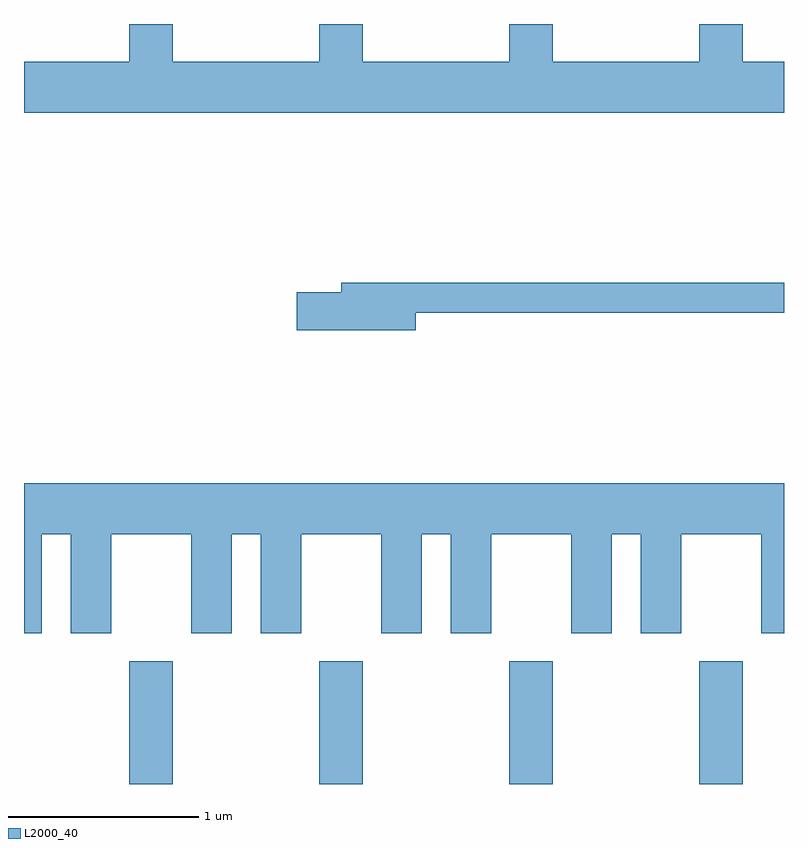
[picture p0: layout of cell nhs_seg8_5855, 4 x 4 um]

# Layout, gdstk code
import gdstk
lib = gdstk.Library(unit=1e-6, precision=1e-09)
def R(c, l, rs):  # rectangles x0, y0, x1, y1
    for r in rs: c.add(gdstk.rectangle(r[:2], r[2:], *l))
def A(c, l, x, y, w, h, nx, ny, dx, dy):  # array of equal rectangles
    R(c, l, [(x+i*dx, y+j*dy, x+i*dx+w, y+j*dy+h) for i in range(nx) for j in range(ny)])
def P(c, l, *ps):  # polygons
    for p in ps: c.add(gdstk.Polygon(p, *l))
L2000_40 = (2000, 40)

nhs_seg8_5855 = lib.new_cell('nhs_seg8_5855')
A(nhs_seg8_5855, L2000_40, 360.166, 1928.342, 0.228, 0.647, 4, 1, 1, 0)
P(nhs_seg8_5855, L2000_40, [(363.611,1932.144),(363.394,1932.144),(363.394,1932.342),(363.166,1932.342),(363.166,1932.144),(362.394,1932.144),(362.394,1932.342),(362.166,1932.342),(362.166,1932.144),(361.394,1932.144),(361.394,1932.342),(361.166,1932.342),(361.166,1932.144),(360.394,1932.144),(360.394,1932.342),(360.166,1932.342),(360.166,1932.144),(359.611,1932.144),(359.611,1931.876),(363.611,1931.876)],
  [(361.674,1930.821),(363.611,1930.821),(363.611,1930.979),(361.281,1930.979),(361.281,1930.929),(361.046,1930.929),(361.046,1930.731),(361.674,1930.731)],
  [(359.611,1929.136),(359.704,1929.136),(359.704,1929.656),(359.856,1929.656),(359.856,1929.136),(360.069,1929.136),(360.069,1929.656),(360.491,1929.656),(360.491,1929.136),(360.704,1929.136),(360.704,1929.656),(360.856,1929.656),(360.856,1929.136),(361.069,1929.136),(361.069,1929.656),(361.491,1929.656),(361.491,1929.136),(361.704,1929.136),(361.704,1929.656),(361.856,1929.656),(361.856,1929.136),(362.069,1929.136),(362.069,1929.656),(362.491,1929.656),(362.491,1929.136),(362.704,1929.136),(362.704,1929.656),(362.856,1929.656),(362.856,1929.136),(363.069,1929.136),(363.069,1929.656),(363.491,1929.656),(363.491,1929.136),(363.611,1929.136),(363.611,1929.924),(359.611,1929.924)])

lib.write_gds('nhs_seg8_5855.gds')
